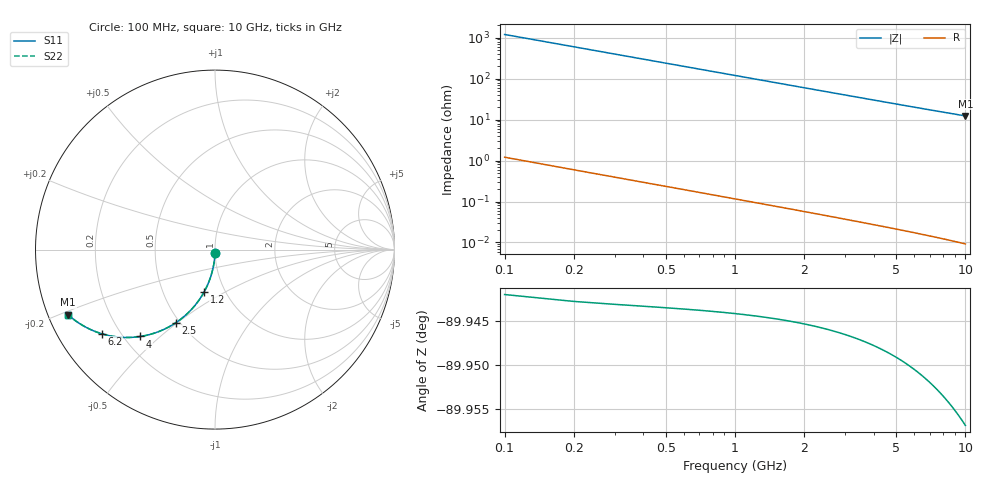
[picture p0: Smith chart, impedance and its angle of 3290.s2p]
# Hz S RI R 50.00
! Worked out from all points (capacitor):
!   100 points, 100 MHz to 10 GHz, reference 50 ohm
!   read as one part in shunt: C = 1.34 pF near 100 MHz
!   lowest |Z| = 12.3 ohm at 10 GHz (marker M1)
!   S11 on the Smith chart (normalised r, x): 100 MHz: 1.00, -0.04; 1.2 GHz: 0.80, -0.40; 2.5 GHz: 0.48, -0.49; 4 GHz: 0.27, -0.43; 6.2 GHz: 0.13, -0.33; 10 GHz: 0.06, -0.21
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1e8  -0.00034 -0.0208  0.9994 -0.0212  0.9994 -0.0212  -0.00034 -0.0208
2e8  -0.00168 -0.0415  0.9981 -0.0424  0.9981 -0.0424  -0.00168 -0.0415
3e8  -0.0039 -0.0622  0.9959 -0.0634  0.9959 -0.0634  -0.0039 -0.0622
4e8  -0.00698 -0.0826  0.9928 -0.0843  0.9928 -0.0843  -0.00698 -0.0826
5e8  -0.0109 -0.1029  0.9888 -0.105  0.9888 -0.105  -0.0109 -0.1029
6e8  -0.0157 -0.1229  0.9841 -0.1254  0.9841 -0.1254  -0.0157 -0.1229
7e8  -0.0212 -0.1425  0.9785 -0.1455  0.9785 -0.1455  -0.0212 -0.1425
9e8  -0.0346 -0.1807  0.9651 -0.1845  0.9651 -0.1845  -0.0346 -0.1807
1.2e9  -0.0599 -0.2346  0.9398 -0.2396  0.9398 -0.2396  -0.0599 -0.2346
1.5e9  -0.0906 -0.2836  0.9091 -0.2899  0.9091 -0.2899  -0.0906 -0.2836
1.8e9  -0.1255 -0.3271  0.8743 -0.3347  0.8743 -0.3347  -0.1255 -0.3271
2.1e9  -0.1634 -0.3649  0.8363 -0.3737  0.8363 -0.3737  -0.1634 -0.3649
2.5e9  -0.2168 -0.4064  0.7829 -0.4169  0.7829 -0.4169  -0.2168 -0.4064
2.9e9  -0.2714 -0.4382  0.7282 -0.4504  0.7282 -0.4504  -0.2714 -0.4382
3.4e9  -0.3388 -0.4657  0.6608 -0.48  0.6608 -0.48  -0.3388 -0.4657
4e9  -0.4152 -0.4838  0.5844 -0.5007  0.5844 -0.5007  -0.4152 -0.4838
5.1e9  -0.5363 -0.4873  0.4632 -0.5089  0.4632 -0.5089  -0.5363 -0.4873
6.2e9  -0.6315 -0.4686  0.3678 -0.4949  0.3678 -0.4949  -0.6315 -0.4686
6.7e9  -0.6672 -0.4563  0.3321 -0.4848  0.3321 -0.4848  -0.6672 -0.4563
7.5e9  -0.7158 -0.4343  0.2834 -0.4663  0.2834 -0.4663  -0.7158 -0.4343
8.4e9  -0.7602 -0.4082  0.2389 -0.4442  0.2389 -0.4442  -0.7602 -0.4082
1e10  -0.8189 -0.3625  0.1799 -0.4056  0.1799 -0.4056  -0.8189 -0.3625
